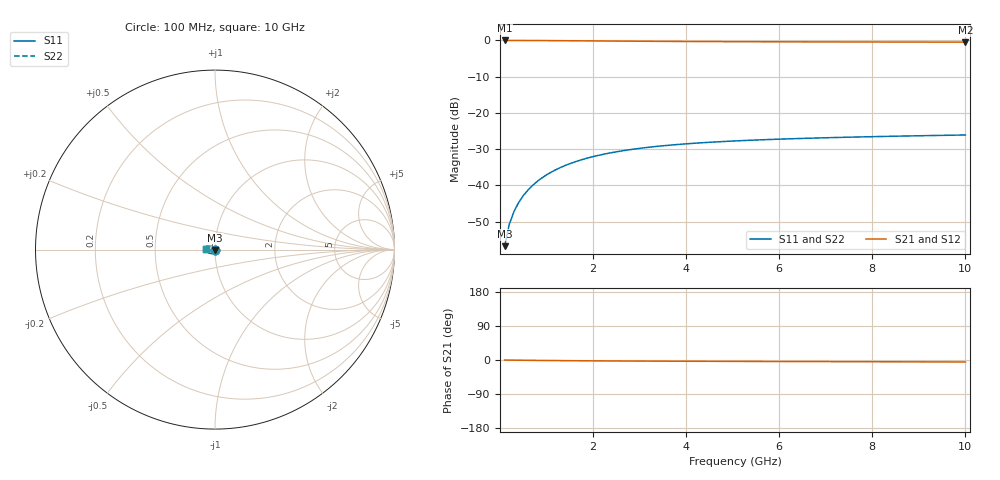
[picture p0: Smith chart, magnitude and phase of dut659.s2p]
! Touchstone file exported from HFSS 2024.1.0
!  File:  C:/UserFiles/LocalFiles/RDL_TSV_Batchsim/temp_TSV1_659_1779792891.aedt
!  Generated:  07:02:24 PM May 26, 2026
!  Design:  TSV1
!  Project:  temp_TSV1_659_1779792891
!  Setup:  Setup1
!  Solution:  Sweep
! Variables:
!  dtsv = 12.35um
!  hbump = 3um
!  htsv = 79.93um
!  lrdl = 252.1521522um
!  p = 40
!  p1 = 57.55um
!  t = 500um
!  trdl = 3um
!  wrdl = 24.89489489um
# GHz S MA R 50.000000
! Terminal data exported
! Port[1] = TSV22_T1
! Port[2] = TSV22_T2
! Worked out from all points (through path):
!   100 points, 100 MHz to 10 GHz, reference 50 ohm
!   highest |S21| = 0.00 dB at 100 MHz (marker M1); lowest = -0.5 dB at 10 GHz (marker M2)
!   lowest |S11| = -56.8 dB at 100 MHz (marker M3), VSWR 1.00, Z = 50 - j0.145 ohm
!   |S11| at or under -10 dB: start of sweep to end of sweep
!   |S22| runs from -56.8 to -26.1 dB; largest |S21 - S12| = 5e-15
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0.1  0.001451 -88.3  0.9999 -0.1  0.9999 -0.1  0.001451 -88.3
! Gamma 0 0 0 0
! Port Impedance 50 0 50 0
0.2  0.002897 -91.9  0.9997 -0.3  0.9997 -0.3  0.002897 -91.9
0.3  0.00434 -94.4  0.9994 -0.4  0.9994 -0.4  0.00434 -94.4
0.4  0.005776 -96.6  0.9991 -0.5  0.9991 -0.5  0.005776 -96.6
0.5  0.007198 -98.8  0.9986 -0.7  0.9986 -0.7  0.007198 -98.8
0.6  0.008603 -100.8  0.9981 -0.8  0.9981 -0.8  0.008603 -100.8
0.7  0.009985 -102.8  0.9975 -0.9  0.9975 -0.9  0.009985 -102.8
0.8  0.01134 -104.8  0.9968 -1.1  0.9968 -1.1  0.01134 -104.8
0.9  0.01267 -106.7  0.9961 -1.2  0.9961 -1.2  0.01267 -106.7
1.1  0.01523 -110.4  0.9944 -1.4  0.9944 -1.4  0.01523 -110.4
1.4  0.0188 -115.7  0.9916 -1.7  0.9916 -1.7  0.0188 -115.7
1.6  0.021 -119.1  0.9896 -1.9  0.9896 -1.9  0.021 -119.1
1.8  0.02304 -122.3  0.9875 -2.1  0.9875 -2.1  0.02304 -122.3
2.1  0.02583 -126.8  0.9844 -2.3  0.9844 -2.3  0.02583 -126.8
2.5  0.02907 -132.2  0.9804 -2.6  0.9804 -2.6  0.02907 -132.2
2.9  0.03182 -137.2  0.9766 -2.8  0.9766 -2.8  0.03182 -137.2
3.4  0.03468 -142.7  0.9724 -3.0  0.9724 -3.0  0.03468 -142.7
4.2  0.03825 -150.3  0.9667 -3.4  0.9667 -3.4  0.03825 -150.3
5.1  0.04121 -157.3  0.9617 -3.7  0.9617 -3.7  0.04121 -157.3
6.7  0.04489 -167.4  0.9556 -4.2  0.9556 -4.2  0.04489 -167.4
8.4  0.04761 -175.9  0.9514 -4.7  0.9514 -4.7  0.04761 -175.9
10  0.04963 177.5  0.9488 -5.2  0.9488 -5.2  0.04963 177.5
